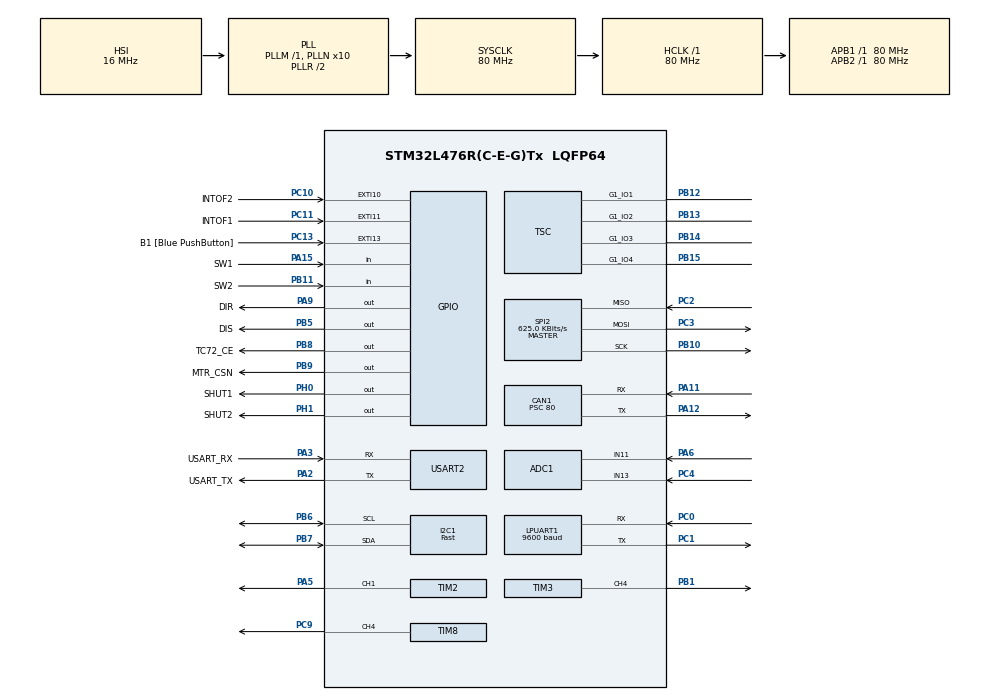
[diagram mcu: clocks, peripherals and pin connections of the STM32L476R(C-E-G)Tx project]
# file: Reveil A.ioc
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ADC1.Channel-0\#ChannelRegularConversion=ADC_CHANNEL_13
ADC1.Channel-1\#ChannelRegularConversion=ADC_CHANNEL_11
ADC1.NbrOfConversion=2
ADC1.NbrOfConversionFlag=1
ADC1.OffsetNumber-0\#ChannelRegularConversion=ADC_OFFSET_NONE
ADC1.OffsetNumber-1\#ChannelRegularConversion=ADC_OFFSET_NONE
ADC1.Rank-0\#ChannelRegularConversion=1
ADC1.Rank-1\#ChannelRegularConversion=2
ADC1.SamplingTime-0\#ChannelRegularConversion=ADC_SAMPLETIME_640CYCLES_5
ADC1.SamplingTime-1\#ChannelRegularConversion=ADC_SAMPLETIME_640CYCLES_5
ADC1.master=1
CAN1.BS1=CAN_BS1_6TQ
CAN1.BS2=CAN_BS2_3TQ
CAN1.CalculateBaudRate=100000
CAN1.CalculateTimeBit=10000
CAN1.CalculateTimeQuantum=1000.0
CAN1.Prescaler=80
Dma.Request0=TIM3_CH4/UP
Dma.TIM3_CH4/UP.0.Direction=DMA_MEMORY_TO_PERIPH
Dma.TIM3_CH4/UP.0.Instance=DMA1_Channel3
Dma.TIM3_CH4/UP.0.MemDataAlignment=DMA_MDATAALIGN_HALFWORD
Dma.TIM3_CH4/UP.0.MemInc=DMA_MINC_ENABLE
Dma.TIM3_CH4/UP.0.Mode=DMA_NORMAL
Dma.TIM3_CH4/UP.0.PeriphDataAlignment=DMA_PDATAALIGN_HALFWORD
Dma.TIM3_CH4/UP.0.PeriphInc=DMA_PINC_DISABLE
Dma.TIM3_CH4/UP.0.Priority=DMA_PRIORITY_LOW
FREERTOS.Tasks01=defaultTask,32,1024,StartDefaultTask,Default,NULL,Dynamic,NULL,NULL;displayTask,24,1024,StartDisplayTask,Default,NULL,Dynamic,NULL,NULL;commandTask,8,512,StartCommandTask,Default,NULL,Dynamic,NULL,NULL;bluetoothTask,8,256,StartBluetoothTask,Default,NULL,Dynamic,NULL,NULL
FREERTOS.configMINIMAL_STACK_SIZE=256
FREERTOS.configTOTAL_HEAP_SIZE=40000
FREERTOS.configUSE_NEWLIB_REENTRANT=1
I2C1.I2C_Speed_Mode=I2C_Fast
I2C1.Timing=0x00F12981
LPUART1.BaudRate=9600
LPUART1.WordLength=UART_WORDLENGTH_8B
Mcu.Family=STM32L4
Mcu.Name=STM32L476R(C-E-G)Tx
Mcu.Package=LQFP64
NVIC.CAN1_RX0_IRQn=true\:5\:0\:false\:false\:true\:true\:true\:true\:true
NVIC.DMA1_Channel3_IRQn=true\:5\:0\:false\:false\:true\:true\:false\:true\:true
NVIC.EXTI15_10_IRQn=true\:5\:0\:false\:false\:true\:true\:true\:true\:true
NVIC.PriorityGroup=NVIC_PRIORITYGROUP_4
NVIC.TIM6_DAC_IRQn=true\:15\:0\:false\:false\:true\:false\:false\:true\:true
NVIC.TimeBase=TIM6_DAC_IRQn
NVIC.TimeBaseIP=TIM6
PA11.Mode=CAN_Activate
PA11.Signal=CAN1_RX
PA12.Mode=CAN_Activate
PA12.Signal=CAN1_TX
PA13\ (JTMS-SWDIO).GPIO_Label=TMS
PA13\ (JTMS-SWDIO).Mode=Serial_Wire
PA13\ (JTMS-SWDIO).Signal=SYS_JTMS-SWDIO
PA14\ (JTCK-SWCLK).GPIO_Label=TCK
PA14\ (JTCK-SWCLK).Mode=Serial_Wire
PA14\ (JTCK-SWCLK).Signal=SYS_JTCK-SWCLK
PA15\ (JTDI).GPIO_Label=SW1
PA15\ (JTDI).GPIO_PuPd=GPIO_PULLUP
PA15\ (JTDI).Signal=GPIO_Input
PA2.GPIO_Label=USART_TX
PA2.GPIO_Mode=GPIO_MODE_AF_PP
PA2.GPIO_PuPd=GPIO_NOPULL
PA2.GPIO_Speed=GPIO_SPEED_FREQ_VERY_HIGH
PA2.Mode=Asynchronous
PA2.Signal=USART2_TX
PA3.GPIO_Label=USART_RX
PA3.GPIO_Mode=GPIO_MODE_AF_PP
PA3.GPIO_PuPd=GPIO_NOPULL
PA3.GPIO_Speed=GPIO_SPEED_FREQ_VERY_HIGH
PA3.Mode=Asynchronous
PA3.Signal=USART2_RX
PA5.Signal=S_TIM2_CH1
PA6.Signal=ADCx_IN11
PA9.GPIO_Label=DIR
PA9.Signal=GPIO_Output
PB1.GPIO_Speed=GPIO_SPEED_FREQ_VERY_HIGH
PB1.Signal=S_TIM3_CH4
PB10.Mode=Full_Duplex_Master
PB10.Signal=SPI2_SCK
PB11.GPIO_Label=SW2
PB11.GPIO_PuPd=GPIO_PULLUP
PB11.Signal=GPIO_Input
PB12.Mode=G1_IO1-Channel
PB12.Signal=TSC_G1_IO1
PB13.Mode=G1_IO2-Channel
PB13.Signal=TSC_G1_IO2
PB14.Mode=G1_IO3-Channel
PB14.Signal=TSC_G1_IO3
PB15.Mode=G1_IO4-Sampling
PB15.Signal=TSC_G1_IO4
PB3\ (JTDO-TRACESWO).GPIO_Label=SWO
PB3\ (JTDO-TRACESWO).Signal=SYS_JTDO-SWO
PB5.GPIO_Label=DIS
PB5.Signal=GPIO_Output
PB6.Mode=I2C
PB6.Signal=I2C1_SCL
PB7.Mode=I2C
PB7.Signal=I2C1_SDA
PB8.GPIO_Label=TC72_CE
PB8.Signal=GPIO_Output
PB9.GPIO_Label=MTR_CSN
PB9.PinState=GPIO_PIN_SET
PB9.Signal=GPIO_Output
PC0.Mode=Asynchronous
PC0.Signal=LPUART1_RX
PC1.Mode=Asynchronous
PC1.Signal=LPUART1_TX
PC10.GPIO_Label=INTOF2
PC10.GPIO_ModeDefaultEXTI=GPIO_MODE_IT_FALLING
PC10.GPIO_PuPd=GPIO_PULLUP
PC10.Signal=GPXTI10
PC11.GPIO_Label=INTOF1
PC11.GPIO_ModeDefaultEXTI=GPIO_MODE_IT_FALLING
PC11.GPIO_PuPd=GPIO_PULLUP
PC11.Signal=GPXTI11
PC13.GPIO_Label=B1 [Blue PushButton]
PC13.GPIO_ModeDefaultEXTI=GPIO_MODE_IT_FALLING
PC13.GPIO_PuPd=GPIO_NOPULL
PC13.Signal=GPXTI13
PC14-OSC32_IN\ (PC14).Mode=LSE-External-Oscillator
PC14-OSC32_IN\ (PC14).Signal=RCC_OSC32_IN
PC15-OSC32_OUT\ (PC15).Mode=LSE-External-Oscillator
PC15-OSC32_OUT\ (PC15).Signal=RCC_OSC32_OUT
PC2.Mode=Full_Duplex_Master
PC2.Signal=SPI2_MISO
PC3.Mode=Full_Duplex_Master
PC3.Signal=SPI2_MOSI
PC4.Signal=ADCx_IN13
PC9.Signal=S_TIM8_CH4
PH0-OSC_IN\ (PH0).GPIO_Label=SHUT1
PH0-OSC_IN\ (PH0).Signal=GPIO_Output
PH1-OSC_OUT\ (PH1).GPIO_Label=SHUT2
PH1-OSC_OUT\ (PH1).Signal=GPIO_Output
ProjectManager.HeapSize=0x200
ProjectManager.StackSize=0x400
ProjectManager.TargetToolchain=STM32CubeIDE
RCC.ADCFreq_Value=64000000
RCC.AHBFreq_Value=80000000
RCC.APB1Freq_Value=80000000
RCC.APB1TimFreq_Value=80000000
RCC.APB2Freq_Value=80000000
RCC.APB2TimFreq_Value=80000000
RCC.CortexFreq_Value=80000000
RCC.HCLKFreq_Value=80000000
RCC.HSE_VALUE=8000000
RCC.HSI_VALUE=16000000
RCC.LPUART1CLockSelection=RCC_LPUART1CLKSOURCE_HSI
RCC.MSI_VALUE=4000000
RCC.PLLN=10
RCC.PLLSourceVirtual=RCC_PLLSOURCE_HSI
RCC.PREFETCH_ENABLE=1
RCC.RTCClockSelection=RCC_RTCCLKSOURCE_LSE
RCC.SYSCLKFreq_VALUE=80000000
RCC.SYSCLKSource=RCC_SYSCLKSOURCE_PLLCLK
RCC.USBFreq_Value=64000000
RCC.VCOOutputFreq_Value=160000000
SH.ADCx_IN11.0=ADC1_IN11,IN11-Single-Ended
SH.ADCx_IN13.0=ADC1_IN13,IN13-Single-Ended
SH.S_TIM2_CH1.0=TIM2_CH1,PWM Generation1 CH1
SH.S_TIM3_CH4.0=TIM3_CH4,PWM Generation4 CH4
SH.S_TIM8_CH4.0=TIM8_CH4,PWM Generation4 CH4
SPI2.BaudRatePrescaler=SPI_BAUDRATEPRESCALER_128
SPI2.CLKPhase=SPI_PHASE_2EDGE
SPI2.CalculateBaudRate=625.0 KBits/s
SPI2.DataSize=SPI_DATASIZE_8BIT
SPI2.Direction=SPI_DIRECTION_2LINES
SPI2.Mode=SPI_MODE_MASTER
SPI2.VirtualType=VM_MASTER
TIM2.Channel-PWM\ Generation1\ CH1=TIM_CHANNEL_1
TIM2.Period=79999
TIM3.AutoReloadPreload=TIM_AUTORELOAD_PRELOAD_ENABLE
TIM3.Channel-PWM\ Generation4\ CH4=TIM_CHANNEL_4
TIM3.Period=99
TIM8.AutoReloadPreload=TIM_AUTORELOAD_PRELOAD_ENABLE
TIM8.Channel-PWM\ Generation4\ CH4=TIM_CHANNEL_4
TIM8.Period=999
TIM8.Prescaler=80-1
TSC.ChannelIOs-G1_IO1=TSC_GROUP1_IO1
TSC.ChannelIOs-G1_IO2=TSC_GROUP1_IO2
TSC.ChannelIOs-G1_IO3=TSC_GROUP1_IO3
TSC.SamplingIOs-G1_IO4=TSC_GROUP1_IO4
USART2.VirtualMode-Asynchronous=VM_ASYNC
VP_FREERTOS_VS_CMSIS_V2.Mode=CMSIS_V2
VP_RTC_VS_RTC_Activate.Mode=RTC_Enabled
VP_SYS_VS_tim6.Mode=TIM6
VP_TIM2_VS_ClockSourceINT.Mode=Internal
VP_TIM3_VS_ClockSourceINT.Mode=Internal
board=NUCLEO-L476RG

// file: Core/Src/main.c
/* USER CODE BEGIN Header */
/**
  ******************************************************************************
  * @file           : main.c
  * @brief          : Main program body
  ******************************************************************************
  * @attention
  *
  * Copyright (c) 2026 STMicroelectronics.
  * All rights reserved.
  *
  * This software is licensed under terms that can be found in the LICENSE file
  * in the root directory of this software component.
  * If no LICENSE file comes with this software, it is provided AS-IS.
  *
  ******************************************************************************
  */
/* USER CODE END Header */
#include "main.h"
#include "cmsis_os.h"

/* USER CODE BEGIN Includes */
#include "sommeil.h"
#include "oled.h"
#include "app_clock.h"
#include "app_alarm.h"
#include "app_alarm_storage.h"
#include <string.h>
#include "sound.h"
#include "app_msg.h"
#include "buttons.h"
#include "touch.h"
#include "lights.h"
#include "capteurs.h"
#include "ventilation.h"
#include "reception_can.h"
#include "partage.h"
#include "mode_jour_nuit.h"
#include "gestes.h"
#include "reglages.h"
/* USER CODE END Includes */

/* USER CODE BEGIN PTD */

typedef enum
{
    APP_CMD_SNOOZE = 0,
    APP_CMD_STOP,
    APP_CMD_REARM,
    APP_CMD_SET_TIME,
    APP_CMD_SET_ALARM,
    APP_CMD_SET_ENABLED

} AppCommandType_t;

typedef struct
{
    AppCommandType_t type;

    uint8_t hours;
    uint8_t minutes;
    uint8_t seconds;
    uint8_t enabled;

} AppCommand_t;

/* Message transmis a la tache OLED */

typedef struct
{
    /* Heure actuelle du RTC */
    uint8_t hours;
    uint8_t minutes;
    uint8_t seconds;

    /* Heure de l'alarme */
    uint8_t alarmHours;
    uint8_t alarmMinutes;

    /* Etat de l'alarme */
    uint8_t enabled;
    AppAlarm_State_t state;

} DisplayMessage_t;

/* USER CODE END PTD */

ADC_HandleTypeDef hadc1;

CAN_HandleTypeDef hcan1;

I2C_HandleTypeDef hi2c1;

UART_HandleTypeDef hlpuart1;
UART_HandleTypeDef huart2;

RTC_HandleTypeDef hrtc;

SPI_HandleTypeDef hspi2;

TIM_HandleTypeDef htim2;
TIM_HandleTypeDef htim3;
TIM_HandleTypeDef htim8;
DMA_HandleTypeDef hdma_tim3_ch4_up;

TSC_HandleTypeDef htsc;

/* Definitions for defaultTask */
osThreadId_t defaultTaskHandle;
const osThreadAttr_t defaultTask_attributes = {
  .name = "defaultTask",
  .stack_size = 1024 * 4,
  .priority = (osPriority_t) osPriorityAboveNormal,
};
/* Definitions for displayTask */
osThreadId_t displayTaskHandle;
const osThreadAttr_t displayTask_attributes = {
  .name = "displayTask",
  .stack_size = 1024 * 4,
  .priority = (osPriority_t) osPriorityNormal,
};
/* Definitions for commandTask */
osThreadId_t commandTaskHandle;
const osThreadAttr_t commandTask_attributes = {
  .name = "commandTask",
  .stack_size = 512 * 4,
  .priority = (osPriority_t) osPriorityLow,
};
/* Definitions for bluetoothTask */
osThreadId_t bluetoothTaskHandle;
const osThreadAttr_t bluetoothTask_attributes = {
  .name = "bluetoothTask",
  .stack_size = 256 * 4,
  .priority = (osPriority_t) osPriorityLow,
};
/* USER CODE BEGIN PV */
static osMessageQueueId_t displayQueueHandle;
static osMessageQueueId_t commandQueueHandle;
/* USER CODE END PV */

void SystemClock_Config(void);
static void MX_GPIO_Init(void);
static void MX_DMA_Init(void);
static void MX_USART2_UART_Init(void);
static void MX_I2C1_Init(void);
static void MX_RTC_Init(void);
static void MX_TIM8_Init(void);
static void MX_TSC_Init(void);
static void MX_TIM3_Init(void);
static void MX_ADC1_Init(void);
static void MX_SPI2_Init(void);
static void MX_TIM2_Init(void);
static void MX_CAN1_Init(void);
static void MX_LPUART1_UART_Init(void);
void StartDefaultTask(void *argument);
void StartDisplayTask(void *argument);
void StartCommandTask(void *argument);
void StartBluetoothTask(void *argument);

/* USER CODE BEGIN 0 */

static uint8_t App_Parse2Digits(
    const char *text,
    uint8_t *value)
{
    if (text[0] < '0' || text[0] > '9' ||
        text[1] < '0' || text[1] > '9')
    {
        return 0;
    }

    *value = (uint8_t)(
        (text[0] - '0') * 10 +
        (text[1] - '0')
    );

    return 1;
}

static void App_UartSend(
    UART_HandleTypeDef *uart,
    const char *text)
{
    HAL_UART_Transmit(
        uart,
        (uint8_t *)text,
        (uint16_t)strlen(text),
        100
    );
}

static uint8_t App_ParseCommand(
    const char *line,
    uint8_t len,
    AppCommand_t *cmd)
{
    uint8_t h = 0;
    uint8_t m = 0;
    uint8_t s = 0;

    /* T HH MM SS */
    if (len == 10 &&
        (line[0] == 'T' || line[0] == 't') &&
        line[1] == ' ' &&
        line[4] == ' ' &&
        line[7] == ' ' &&
        App_Parse2Digits(&line[2], &h) &&
        App_Parse2Digits(&line[5], &m) &&
        App_Parse2Digits(&line[8], &s) &&
        h < 24 && m < 60 && s < 60)
    {
        cmd->type = APP_CMD_SET_TIME;
        cmd->hours = h;
        cmd->minutes = m;
        cmd->seconds = s;

        return 1;
    }

    /* A HH MM */
    if (len == 7 &&
        (line[0] == 'A' || line[0] == 'a') &&
        line[1] == ' ' &&
        line[4] == ' ' &&
        App_Parse2Digits(&line[2], &h) &&
        App_Parse2Digits(&line[5], &m) &&
        h < 24 && m < 60)
    {
        cmd->type = APP_CMD_SET_ALARM;
        cmd->hours = h;
        cmd->minutes = m;

        return 1;
    }

    /* E 0 ou E 1 */
    if (len == 3 &&
        (line[0] == 'E' || line[0] == 'e') &&
        line[1] == ' ' &&
        (line[2] == '0' || line[2] == '1'))
    {
        cmd->type = APP_CMD_SET_ENABLED;
        cmd->enabled = line[2] - '0';

        return 1;
    }

    return 0;
}

static void App_RunTerminal(
    UART_HandleTypeDef *uart,
    uint8_t isBluetooth)
{
    uint8_t rx;

    char line[16];
    uint8_t len = 0;
    uint8_t discardLine = 0;

    if (isBluetooth)
    {
        App_UartSend(
            uart,
            "\r\nBLUETOOTH REVEIL PRET\r\n"
        );
    }
    else
    {
        App_UartSend(
            uart,
            "\r\nREVEIL INTELLIGENT\r\n"
        );
    }

    App_UartSend(
        uart,
        "T HH MM SS = HEURE\r\n"
        "A HH MM = ALARME\r\n"
        "E 1 / E 0 = ON / OFF\r\n"
        "r = REARM\r\n"
        "s = SNOOZE\r\n"
        "x = STOP\r\n"
        "p = TEST\r\n"

    );
    Reglages_Aide(uart);
    for (;;)
    {
        if (HAL_UART_Receive(
                uart,
                &rx,
                1,
                10) == HAL_OK)
        {
            AppCommand_t cmd = {0};
            uint8_t valid = 0;

            /* Fin de ligne */
            if (rx == '\r' || rx == '\n')
            {
                if (!discardLine && len > 0)
                {
                    valid = App_ParseCommand(
                        line,
                        len,
                        &cmd
                    );

                    if (!valid &&
                        !Reglages_Traiter(uart, line, len))
                    {
                        App_UartSend(
                            uart,
                            "ERREUR: commande invalide\r\n"
                        );
                    }
                }

                len = 0;
                discardLine = 0;
            }

            /* Retour arriere */
            else if (!discardLine &&
                     (rx == '\b' || rx == 127))
            {
                if (len > 0)
                {
                    len--;
                }
            }

            /* Commande TEST immediate */
            else if (!discardLine &&
                     len == 0 &&
                     (rx == 'p' || rx == 'P'))
            {
                if (isBluetooth)
                {
                    App_UartSend(uart, "BT OK\r\n");
                }
                else
                {
                    App_UartSend(uart, "UART OK\r\n");
                }
            }

            /* Commandes simples immediates */
            else if (!discardLine &&
                     len == 0 &&
                     (rx == 'r' || rx == 'R' ||
                      rx == 's' || rx == 'S' ||
                      rx == 'x' || rx == 'X'))
            {
                if (rx == 'r' || rx == 'R')
                {
                    cmd.type = APP_CMD_REARM;
                }
                else if (rx == 's' || rx == 'S')
                {
                    cmd.type = APP_CMD_SNOOZE;
                }
                else
                {
                    cmd.type = APP_CMD_STOP;
                }

                valid = 1;
            }

            /* Reception d'une commande longue */
            else if (!discardLine &&
                     rx >= 32 && rx <= 126)
            {
                if (len < sizeof(line))
                {
                    line[len++] = (char)rx;
                }
                else
                {
                    len = 0;
                    discardLine = 1;

                    App_UartSend(
                        uart,
                        "ERREUR: ligne trop longue\r\n"
                    );
                }
            }

            /* Envoi vers defaultTask */
            if (valid)
            {
                if (osMessageQueuePut(
                        commandQueueHandle,
                        &cmd,
                        0,
                        0) == osOK)
                {
                    App_UartSend(
                        uart,
                        "Commande recue\r\n"
                    );
                }
                else
                {
                    App_UartSend(
                        uart,
                        "ERREUR: queue pleine\r\n"
                    );
                }
            }
        }
        else
        {
            /* Ne pas ralentir une ligne en cours */
            osDelay(1);
        }
    }
}

/* USER CODE END 0 */

int main(void)
{

  /* MCU Configuration--------------------------------------------------------*/

  /* Reset of all peripherals, Initializes the Flash interface and the Systick. */
  HAL_Init();

  /* Configure the system clock */
  SystemClock_Config();

  /* Initialize all configured peripherals */
  MX_GPIO_Init();
  MX_DMA_Init();
  MX_USART2_UART_Init();
  MX_I2C1_Init();
  MX_RTC_Init();
  MX_TIM8_Init();
  MX_TSC_Init();
  MX_TIM3_Init();
  MX_ADC1_Init();
  MX_SPI2_Init();
  MX_TIM2_Init();
  MX_CAN1_Init();
  MX_LPUART1_UART_Init();

  /* Init scheduler */
  osKernelInitialize();

  /* USER CODE BEGIN RTOS_QUEUES */
  /* add queues, ... */

  displayQueueHandle = osMessageQueueNew(
      2,
      sizeof(DisplayMessage_t),
      NULL
  );

  if (displayQueueHandle == NULL)
  {
      Error_Handler();
  }

  commandQueueHandle = osMessageQueueNew(
      8,
      sizeof(AppCommand_t),
      NULL
  );

  if (commandQueueHandle == NULL)
  {
      Error_Handler();
  }

  /* USER CODE END RTOS_QUEUES */

  /* Create the thread(s) */
  /* creation of defaultTask */
  defaultTaskHandle = osThreadNew(StartDefaultTask, NULL, &defaultTask_attributes);

  /* creation of displayTask */
  displayTaskHandle = osThreadNew(StartDisplayTask, NULL, &displayTask_attributes);

  /* creation of commandTask */
  commandTaskHandle = osThreadNew(StartCommandTask, NULL, &commandTask_attributes);

  /* creation of bluetoothTask */
  bluetoothTaskHandle = osThreadNew(StartBluetoothTask, NULL, &bluetoothTask_attributes);

  /* USER CODE BEGIN RTOS_THREADS */
  /* add threads, ... */
  Partage_Init();

  /* ---  : verification des taches creees par CubeMX --- */
  if (defaultTaskHandle == NULL ||
      displayTaskHandle == NULL ||
      commandTaskHandle == NULL ||
      bluetoothTaskHandle == NULL)
  {
      Error_Handler();
  }

  /* ---  : taches des capteurs et actionneurs --- */
  Son_Init();
  Boutons_Init();
  Touches_Init();
  Eclairage_Init();
  Capteurs_Init();
  Ventilation_Init();
  ReceptionCAN_Init();
  ModeJourNuit_Init();
  Gestes_Init();
  Sommeil_Init();
  /* USER CODE END RTOS_THREADS */

  /* Start scheduler */
  osKernelStart();

  /* We should never get here as control is now taken by the scheduler */

  /* Infinite loop */
  while (1)
  {

  }
}

void SystemClock_Config(void)
{
  RCC_OscInitTypeDef RCC_OscInitStruct = {0};
  RCC_ClkInitTypeDef RCC_ClkInitStruct = {0};

  /** Configure the main internal regulator output voltage
  */
  if (HAL_PWREx_ControlVoltageScaling(PWR_REGULATOR_VOLTAGE_SCALE1) != HAL_OK)
  {
    Error_Handler();
  }

  /** Configure LSE Drive Capability
  */
  HAL_PWR_EnableBkUpAccess();
  __HAL_RCC_LSEDRIVE_CONFIG(RCC_LSEDRIVE_LOW);

  /** Initializes the RCC Oscillators according to the specified parameters
  * in the RCC_OscInitTypeDef structure.
  */
  RCC_OscInitStruct.OscillatorType = RCC_OSCILLATORTYPE_HSI|RCC_OSCILLATORTYPE_LSE;
  RCC_OscInitStruct.LSEState = RCC_LSE_ON;
  RCC_OscInitStruct.HSIState = RCC_HSI_ON;
  RCC_OscInitStruct.HSICalibrationValue = RCC_HSICALIBRATION_DEFAULT;
  RCC_OscInitStruct.PLL.PLLState = RCC_PLL_ON;
  RCC_OscInitStruct.PLL.PLLSource = RCC_PLLSOURCE_HSI;
  RCC_OscInitStruct.PLL.PLLM = 1;
  RCC_OscInitStruct.PLL.PLLN = 10;
  RCC_OscInitStruct.PLL.PLLP = RCC_PLLP_DIV7;
  RCC_OscInitStruct.PLL.PLLQ = RCC_PLLQ_DIV2;
  RCC_OscInitStruct.PLL.PLLR = RCC_PLLR_DIV2;
  if (HAL_RCC_OscConfig(&RCC_OscInitStruct) != HAL_OK)
  {
    Error_Handler();
  }

  /** Initializes the CPU, AHB and APB buses clocks
  */
  RCC_ClkInitStruct.ClockType = RCC_CLOCKTYPE_HCLK|RCC_CLOCKTYPE_SYSCLK
                              |RCC_CLOCKTYPE_PCLK1|RCC_CLOCKTYPE_PCLK2;
  RCC_ClkInitStruct.SYSCLKSource = RCC_SYSCLKSOURCE_PLLCLK;
  RCC_ClkInitStruct.AHBCLKDivider = RCC_SYSCLK_DIV1;
  RCC_ClkInitStruct.APB1CLKDivider = RCC_HCLK_DIV1;
  RCC_ClkInitStruct.APB2CLKDivider = RCC_HCLK_DIV1;

  if (HAL_RCC_ClockConfig(&RCC_ClkInitStruct, FLASH_LATENCY_4) != HAL_OK)
  {
    Error_Handler();
  }
}

static void MX_ADC1_Init(void)
{

  ADC_MultiModeTypeDef multimode = {0};
  ADC_ChannelConfTypeDef sConfig = {0};

  /** Common config
  */
  hadc1.Instance = ADC1;
  hadc1.Init.ClockPrescaler = ADC_CLOCK_ASYNC_DIV1;
  hadc1.Init.Resolution = ADC_RESOLUTION_12B;
  hadc1.Init.DataAlign = ADC_DATAALIGN_RIGHT;
  hadc1.Init.ScanConvMode = ADC_SCAN_ENABLE;
  hadc1.Init.EOCSelection = ADC_EOC_SINGLE_CONV;
  hadc1.Init.LowPowerAutoWait = DISABLE;
  hadc1.Init.ContinuousConvMode = DISABLE;
  hadc1.Init.NbrOfConversion = 2;
  hadc1.Init.DiscontinuousConvMode = DISABLE;
  hadc1.Init.ExternalTrigConv = ADC_SOFTWARE_START;
  hadc1.Init.ExternalTrigConvEdge = ADC_EXTERNALTRIGCONVEDGE_NONE;
  hadc1.Init.DMAContinuousRequests = DISABLE;
  hadc1.Init.Overrun = ADC_OVR_DATA_PRESERVED;
  hadc1.Init.OversamplingMode = DISABLE;
  if (HAL_ADC_Init(&hadc1) != HAL_OK)
  {
    Error_Handler();
  }

  /** Configure the ADC multi-mode
  */
  multimode.Mode = ADC_MODE_INDEPENDENT;
  if (HAL_ADCEx_MultiModeConfigChannel(&hadc1, &multimode) != HAL_OK)
  {
    Error_Handler();
  }

  /** Configure Regular Channel
  */
  sConfig.Channel = ADC_CHANNEL_13;
  sConfig.Rank = ADC_REGULAR_RANK_1;
  sConfig.SamplingTime = ADC_SAMPLETIME_640CYCLES_5;
  sConfig.SingleDiff = ADC_SINGLE_ENDED;
  sConfig.OffsetNumber = ADC_OFFSET_NONE;
  sConfig.Offset = 0;
  if (HAL_ADC_ConfigChannel(&hadc1, &sConfig) != HAL_OK)
  {
    Error_Handler();
  }

  /** Configure Regular Channel
  */
  sConfig.Channel = ADC_CHANNEL_11;
  sConfig.Rank = ADC_REGULAR_RANK_2;
  if (HAL_ADC_ConfigChannel(&hadc1, &sConfig) != HAL_OK)
  {
    Error_Handler();
  }

}

static void MX_CAN1_Init(void)
{

  hcan1.Instance = CAN1;
  hcan1.Init.Prescaler = 80;
  hcan1.Init.Mode = CAN_MODE_NORMAL;
  hcan1.Init.SyncJumpWidth = CAN_SJW_1TQ;
  hcan1.Init.TimeSeg1 = CAN_BS1_6TQ;
  hcan1.Init.TimeSeg2 = CAN_BS2_3TQ;
  hcan1.Init.TimeTriggeredMode = DISABLE;
  hcan1.Init.AutoBusOff = DISABLE;
  hcan1.Init.AutoWakeUp = DISABLE;
  hcan1.Init.AutoRetransmission = DISABLE;
  hcan1.Init.ReceiveFifoLocked = DISABLE;
  hcan1.Init.TransmitFifoPriority = DISABLE;
  if (HAL_CAN_Init(&hcan1) != HAL_OK)
  {
    Error_Handler();
  }

}

static void MX_I2C1_Init(void)
{

  hi2c1.Instance = I2C1;
  hi2c1.Init.Timing = 0x00F12981;
  hi2c1.Init.OwnAddress1 = 0;
  hi2c1.Init.AddressingMode = I2C_ADDRESSINGMODE_7BIT;
  hi2c1.Init.DualAddressMode = I2C_DUALADDRESS_DISABLE;
  hi2c1.Init.OwnAddress2 = 0;
  hi2c1.Init.OwnAddress2Masks = I2C_OA2_NOMASK;
  hi2c1.Init.GeneralCallMode = I2C_GENERALCALL_DISABLE;
  hi2c1.Init.NoStretchMode = I2C_NOSTRETCH_DISABLE;
  if (HAL_I2C_Init(&hi2c1) != HAL_OK)
  {
    Error_Handler();
  }

  /** Configure Analogue filter
  */
  if (HAL_I2CEx_ConfigAnalogFilter(&hi2c1, I2C_ANALOGFILTER_ENABLE) != HAL_OK)
  {
    Error_Handler();
  }

  /** Configure Digital filter
  */
  if (HAL_I2CEx_ConfigDigitalFilter(&hi2c1, 0) != HAL_OK)
  {
    Error_Handler();
  }

}

static void MX_LPUART1_UART_Init(void)
{

  hlpuart1.Instance = LPUART1;
  hlpuart1.Init.BaudRate = 9600;
  hlpuart1.Init.WordLength = UART_WORDLENGTH_8B;
  hlpuart1.Init.StopBits = UART_STOPBITS_1;
  hlpuart1.Init.Parity = UART_PARITY_NONE;
  hlpuart1.Init.Mode = UART_MODE_TX_RX;
  hlpuart1.Init.HwFlowCtl = UART_HWCONTROL_NONE;
  hlpuart1.Init.OneBitSampling = UART_ONE_BIT_SAMPLE_DISABLE;
  hlpuart1.AdvancedInit.AdvFeatureInit = UART_ADVFEATURE_NO_INIT;
  if (HAL_UART_Init(&hlpuart1) != HAL_OK)
  {
    Error_Handler();
  }

}

static void MX_USART2_UART_Init(void)
{

  huart2.Instance = USART2;
  huart2.Init.BaudRate = 115200;
  huart2.Init.WordLength = UART_WORDLENGTH_8B;
  huart2.Init.StopBits = UART_STOPBITS_1;
  huart2.Init.Parity = UART_PARITY_NONE;
  huart2.Init.Mode = UART_MODE_TX_RX;
  huart2.Init.HwFlowCtl = UART_HWCONTROL_NONE;
  huart2.Init.OverSampling = UART_OVERSAMPLING_16;
  huart2.Init.OneBitSampling = UART_ONE_BIT_SAMPLE_DISABLE;
  huart2.AdvancedInit.AdvFeatureInit = UART_ADVFEATURE_NO_INIT;
  if (HAL_UART_Init(&huart2) != HAL_OK)
  {
    Error_Handler();
  }

}

static void MX_RTC_Init(void)
{

  /** Initialize RTC Only
  */
  hrtc.Instance = RTC;
  hrtc.Init.HourFormat = RTC_HOURFORMAT_24;
  hrtc.Init.AsynchPrediv = 127;
  hrtc.Init.SynchPrediv = 255;
  hrtc.Init.OutPut = RTC_OUTPUT_DISABLE;
  hrtc.Init.OutPutRemap = RTC_OUTPUT_REMAP_NONE;
  hrtc.Init.OutPutPolarity = RTC_OUTPUT_POLARITY_HIGH;
  hrtc.Init.OutPutType = RTC_OUTPUT_TYPE_OPENDRAIN;
  if (HAL_RTC_Init(&hrtc) != HAL_OK)
  {
    Error_Handler();
  }

}

static void MX_SPI2_Init(void)
{

  /* SPI2 parameter configuration*/
  hspi2.Instance = SPI2;
  hspi2.Init.Mode = SPI_MODE_MASTER;
  hspi2.Init.Direction = SPI_DIRECTION_2LINES;
  hspi2.Init.DataSize = SPI_DATASIZE_8BIT;
  hspi2.Init.CLKPolarity = SPI_POLARITY_LOW;
  hspi2.Init.CLKPhase = SPI_PHASE_2EDGE;
  hspi2.Init.NSS = SPI_NSS_SOFT;
  hspi2.Init.BaudRatePrescaler = SPI_BAUDRATEPRESCALER_128;
  hspi2.Init.FirstBit = SPI_FIRSTBIT_MSB;
  hspi2.Init.TIMode = SPI_TIMODE_DISABLE;
  hspi2.Init.CRCCalculation = SPI_CRCCALCULATION_DISABLE;
  hspi2.Init.CRCPolynomial = 7;
  hspi2.Init.CRCLength = SPI_CRC_LENGTH_DATASIZE;
  hspi2.Init.NSSPMode = SPI_NSS_PULSE_DISABLE;
  if (HAL_SPI_Init(&hspi2) != HAL_OK)
  {
    Error_Handler();
  }

}

static void MX_TIM2_Init(void)
{

  TIM_ClockConfigTypeDef sClockSourceConfig = {0};
  TIM_MasterConfigTypeDef sMasterConfig = {0};
  TIM_OC_InitTypeDef sConfigOC = {0};

  htim2.Instance = TIM2;
  htim2.Init.Prescaler = 0;
  htim2.Init.CounterMode = TIM_COUNTERMODE_UP;
  htim2.Init.Period = 79999;
  htim2.Init.ClockDivision = TIM_CLOCKDIVISION_DIV1;
  htim2.Init.AutoReloadPreload = TIM_AUTORELOAD_PRELOAD_DISABLE;
  if (HAL_TIM_Base_Init(&htim2) != HAL_OK)
  {
    Error_Handler();
  }
  sClockSourceConfig.ClockSource = TIM_CLOCKSOURCE_INTERNAL;
  if (HAL_TIM_ConfigClockSource(&htim2, &sClockSourceConfig) != HAL_OK)
  {
    Error_Handler();
  }
  if (HAL_TIM_PWM_Init(&htim2) != HAL_OK)
  {
    Error_Handler();
  }
  sMasterConfig.MasterOutputTrigger = TIM_TRGO_RESET;
  sMasterConfig.MasterSlaveMode = TIM_MASTERSLAVEMODE_DISABLE;
  if (HAL_TIMEx_MasterConfigSynchronization(&htim2, &sMasterConfig) != HAL_OK)
  {
    Error_Handler();
  }
  sConfigOC.OCMode = TIM_OCMODE_PWM1;
  sConfigOC.Pulse = 0;
  sConfigOC.OCPolarity = TIM_OCPOLARITY_HIGH;
  sConfigOC.OCFastMode = TIM_OCFAST_DISABLE;
  if (HAL_TIM_PWM_ConfigChannel(&htim2, &sConfigOC, TIM_CHANNEL_1) != HAL_OK)
  {
    Error_Handler();
  }
  HAL_TIM_MspPostInit(&htim2);

}

static void MX_TIM3_Init(void)
{

  TIM_ClockConfigTypeDef sClockSourceConfig = {0};
  TIM_MasterConfigTypeDef sMasterConfig = {0};
  TIM_OC_InitTypeDef sConfigOC = {0};

  htim3.Instance = TIM3;
  htim3.Init.Prescaler = 0;
  htim3.Init.CounterMode = TIM_COUNTERMODE_UP;
  htim3.Init.Period = 99;
  htim3.Init.ClockDivision = TIM_CLOCKDIVISION_DIV1;
  htim3.Init.AutoReloadPreload = TIM_AUTORELOAD_PRELOAD_ENABLE;
  if (HAL_TIM_Base_Init(&htim3) != HAL_OK)
  {
    Error_Handler();
  }
  sClockSourceConfig.ClockSource = TIM_CLOCKSOURCE_INTERNAL;
  if (HAL_TIM_ConfigClockSource(&htim3, &sClockSourceConfig) != HAL_OK)
  {
    Error_Handler();
  }
  if (HAL_TIM_PWM_Init(&htim3) != HAL_OK)
  {
    Error_Handler();
  }
  sMasterConfig.MasterOutputTrigger = TIM_TRGO_RESET;
  sMasterConfig.MasterSlaveMode = TIM_MASTERSLAVEMODE_DISABLE;
  if (HAL_TIMEx_MasterConfigSynchronization(&htim3, &sMasterConfig) != HAL_OK)
  {
    Error_Handler();
  }
  sConfigOC.OCMode = TIM_OCMODE_PWM1;
  sConfigOC.Pulse = 0;
  sConfigOC.OCPolarity = TIM_OCPOLARITY_HIGH;
  sConfigOC.OCFastMode = TIM_OCFAST_DISABLE;
  if (HAL_TIM_PWM_ConfigChannel(&htim3, &sConfigOC, TIM_CHANNEL_4) != HAL_OK)
  {
    Error_Handler();
  }
  HAL_TIM_MspPostInit(&htim3);

}

static void MX_TIM8_Init(void)
{

  TIM_MasterConfigTypeDef sMasterConfig = {0};
  TIM_OC_InitTypeDef sConfigOC = {0};
  TIM_BreakDeadTimeConfigTypeDef sBreakDeadTimeConfig = {0};

  htim8.Instance = TIM8;
  htim8.Init.Prescaler = 80-1;
  htim8.Init.CounterMode = TIM_COUNTERMODE_UP;
  htim8.Init.Period = 999;
  htim8.Init.ClockDivision = TIM_CLOCKDIVISION_DIV1;
  htim8.Init.RepetitionCounter = 0;
  htim8.Init.AutoReloadPreload = TIM_AUTORELOAD_PRELOAD_ENABLE;
  if (HAL_TIM_PWM_Init(&htim8) != HAL_OK)
  {
    Error_Handler();
  }
  sMasterConfig.MasterOutputTrigger = TIM_TRGO_RESET;
  sMasterConfig.MasterOutputTrigger2 = TIM_TRGO2_RESET;
  sMasterConfig.MasterSlaveMode = TIM_MASTERSLAVEMODE_DISABLE;
  if (HAL_TIMEx_MasterConfigSynchronization(&htim8, &sMasterConfig) != HAL_OK)
  {
    Error_Handler();
  }
  sConfigOC.OCMode = TIM_OCMODE_PWM1;
  sConfigOC.Pulse = 0;
  sConfigOC.OCPolarity = TIM_OCPOLARITY_HIGH;
  sConfigOC.OCFastMode = TIM_OCFAST_DISABLE;
  sConfigOC.OCIdleState = TIM_OCIDLESTATE_RESET;
  sConfigOC.OCNIdleState = TIM_OCNIDLESTATE_RESET;
  if (HAL_TIM_PWM_ConfigChannel(&htim8, &sConfigOC, TIM_CHANNEL_4) != HAL_OK)
  {
    Error_Handler();
  }
  sBreakDeadTimeConfig.OffStateRunMode = TIM_OSSR_DISABLE;
  sBreakDeadTimeConfig.OffStateIDLEMode = TIM_OSSI_DISABLE;
  sBreakDeadTimeConfig.LockLevel = TIM_LOCKLEVEL_OFF;
  sBreakDeadTimeConfig.DeadTime = 0;
  sBreakDeadTimeConfig.BreakState = TIM_BREAK_DISABLE;
  sBreakDeadTimeConfig.BreakPolarity = TIM_BREAKPOLARITY_HIGH;
  sBreakDeadTimeConfig.BreakFilter = 0;
  sBreakDeadTimeConfig.Break2State = TIM_BREAK2_DISABLE;
  sBreakDeadTimeConfig.Break2Polarity = TIM_BREAK2POLARITY_HIGH;
  sBreakDeadTimeConfig.Break2Filter = 0;
  sBreakDeadTimeConfig.AutomaticOutput = TIM_AUTOMATICOUTPUT_DISABLE;
  if (HAL_TIMEx_ConfigBreakDeadTime(&htim8, &sBreakDeadTimeConfig) != HAL_OK)
  {
    Error_Handler();
  }
  HAL_TIM_MspPostInit(&htim8);

}

static void MX_TSC_Init(void)
{

  /** Configure the TSC peripheral
  */
  htsc.Instance = TSC;
  htsc.Init.CTPulseHighLength = TSC_CTPH_2CYCLES;
  htsc.Init.CTPulseLowLength = TSC_CTPL_2CYCLES;
  htsc.Init.SpreadSpectrum = DISABLE;
  htsc.Init.SpreadSpectrumDeviation = 1;
  htsc.Init.SpreadSpectrumPrescaler = TSC_SS_PRESC_DIV1;
  htsc.Init.PulseGeneratorPrescaler = TSC_PG_PRESC_DIV4;
  htsc.Init.MaxCountValue = TSC_MCV_8191;
  htsc.Init.IODefaultMode = TSC_IODEF_OUT_PP_LOW;
  htsc.Init.SynchroPinPolarity = TSC_SYNC_POLARITY_FALLING;
  htsc.Init.AcquisitionMode = TSC_ACQ_MODE_NORMAL;
  htsc.Init.MaxCountInterrupt = DISABLE;
  htsc.Init.ChannelIOs = TSC_GROUP1_IO1|TSC_GROUP1_IO2|TSC_GROUP1_IO3;
  htsc.Init.ShieldIOs = 0;
  htsc.Init.SamplingIOs = TSC_GROUP1_IO4;
  if (HAL_TSC_Init(&htsc) != HAL_OK)
  {
    Error_Handler();
  }

}

static void MX_DMA_Init(void)
{

  /* DMA controller clock enable */
  __HAL_RCC_DMA1_CLK_ENABLE();

  /* DMA interrupt init */
  /* DMA1_Channel3_IRQn interrupt configuration */
  HAL_NVIC_SetPriority(DMA1_Channel3_IRQn, 5, 0);
  HAL_NVIC_EnableIRQ(DMA1_Channel3_IRQn);

}

static void MX_GPIO_Init(void)
{
  GPIO_InitTypeDef GPIO_InitStruct = {0};

  /* GPIO Ports Clock Enable */
  __HAL_RCC_GPIOC_CLK_ENABLE();
  __HAL_RCC_GPIOH_CLK_ENABLE();
  __HAL_RCC_GPIOA_CLK_ENABLE();
  __HAL_RCC_GPIOB_CLK_ENABLE();

  /*Configure GPIO pin Output Level */
  HAL_GPIO_WritePin(GPIOH, SHUT1_Pin|SHUT2_Pin, GPIO_PIN_RESET);

  /*Configure GPIO pin Output Level */
  HAL_GPIO_WritePin(DIR_GPIO_Port, DIR_Pin, GPIO_PIN_RESET);

  /*Configure GPIO pin Output Level */
  HAL_GPIO_WritePin(GPIOB, DIS_Pin|TC72_CE_Pin, GPIO_PIN_RESET);

  /*Configure GPIO pin Output Level */
  HAL_GPIO_WritePin(MTR_CSN_GPIO_Port, MTR_CSN_Pin, GPIO_PIN_SET);

  /*Configure GPIO pin : B1_Pin */
  GPIO_InitStruct.Pin = B1_Pin;
  GPIO_InitStruct.Mode = GPIO_MODE_IT_FALLING;
  GPIO_InitStruct.Pull = GPIO_NOPULL;
  HAL_GPIO_Init(B1_GPIO_Port, &GPIO_InitStruct);

  /*Configure GPIO pins : SHUT1_Pin SHUT2_Pin */
  GPIO_InitStruct.Pin = SHUT1_Pin|SHUT2_Pin;
  GPIO_InitStruct.Mode = GPIO_MODE_OUTPUT_PP;
  GPIO_InitStruct.Pull = GPIO_NOPULL;
  GPIO_InitStruct.Speed = GPIO_SPEED_FREQ_LOW;
  HAL_GPIO_Init(GPIOH, &GPIO_InitStruct);

  /*Configure GPIO pin : SW2_Pin */
  GPIO_InitStruct.Pin = SW2_Pin;
  GPIO_InitStruct.Mode = GPIO_MODE_INPUT;
  GPIO_InitStruct.Pull = GPIO_PULLUP;
  HAL_GPIO_Init(SW2_GPIO_Port, &GPIO_InitStruct);

  /*Configure GPIO pin : DIR_Pin */
  GPIO_InitStruct.Pin = DIR_Pin;
  GPIO_InitStruct.Mode = GPIO_MODE_OUTPUT_PP;
  GPIO_InitStruct.Pull = GPIO_NOPULL;
  GPIO_InitStruct.Speed = GPIO_SPEED_FREQ_LOW;
  HAL_GPIO_Init(DIR_GPIO_Port, &GPIO_InitStruct);

  /*Configure GPIO pin : SW1_Pin */
  GPIO_InitStruct.Pin = SW1_Pin;
  GPIO_InitStruct.Mode = GPIO_MODE_INPUT;
  GPIO_InitStruct.Pull = GPIO_PULLUP;
  HAL_GPIO_Init(SW1_GPIO_Port, &GPIO_InitStruct);

  /*Configure GPIO pins : INTOF2_Pin INTOF1_Pin */
  GPIO_InitStruct.Pin = INTOF2_Pin|INTOF1_Pin;
  GPIO_InitStruct.Mode = GPIO_MODE_IT_FALLING;
  GPIO_InitStruct.Pull = GPIO_PULLUP;
  HAL_GPIO_Init(GPIOC, &GPIO_InitStruct);

  /*Configure GPIO pins : DIS_Pin TC72_CE_Pin MTR_CSN_Pin */
  GPIO_InitStruct.Pin = DIS_Pin|TC72_CE_Pin|MTR_CSN_Pin;
  GPIO_InitStruct.Mode = GPIO_MODE_OUTPUT_PP;
  GPIO_InitStruct.Pull = GPIO_NOPULL;
  GPIO_InitStruct.Speed = GPIO_SPEED_FREQ_LOW;
  HAL_GPIO_Init(GPIOB, &GPIO_InitStruct);

  /* EXTI interrupt init*/
  HAL_NVIC_SetPriority(EXTI15_10_IRQn, 5, 0);
  HAL_NVIC_EnableIRQ(EXTI15_10_IRQn);

}

void StartDefaultTask(void *argument)
{
  /* USER CODE BEGIN 5 */

    AppClock_Time_t currentTime;
    AppAlarm_t alarm;

    uint8_t lastSecond = 255;
    uint8_t lastEnabled = 255;
    uint8_t lastAlarmHour = 255;
    uint8_t lastAlarmMinute = 255;

    AppAlarm_State_t lastState =
        (AppAlarm_State_t)255;
    /* Y1.3 : suivi du son */
    AppAlarm_State_t dernierEtatSon = APP_ALARM_SILENCIEUSE;
    uint8_t bipStopEnAttente = 0;

    /* Initialisation RTC */
    if (AppClock_Init(&hrtc) != HAL_OK)
    {
        Error_Handler();
    }

    if (AppClock_Read(&hrtc, &currentTime) != HAL_OK)
    {
        Error_Handler();
    }

    /* Charger la configuration sauvegardee */
    if (!AppAlarmStorage_Load(
            &hrtc,
            &alarm,
            10))
    {
        /*
         * Premier demarrage :
         * alarme a 07:00, desactivee.
         */
        AppAlarm_Init(
            &alarm,
            7,
            0,
            10
        );

        AppAlarm_Stop(&alarm);

        /* Sauvegarder les valeurs initiales */
        if (AppAlarmStorage_Save(
                &hrtc, &alarm) != HAL_OK)
        {
            Error_Handler();
        }
    }

    /* Variables conservees pour la commande REARM */
    uint8_t alarmHour = alarm.hours;
    uint8_t alarmMinute = alarm.minutes;

    /*
     * Eviter une sonnerie immediate apres RESET
     * si on se trouve deja dans la minute
     * programmee.
     */
    if (currentTime.hours == alarm.hours &&
        currentTime.minutes == alarm.minutes)
    {
        alarm.minuteArmed = 0;
    }

    for (;;)
    {
        if (AppClock_Read(
                &hrtc,
                &currentTime) == HAL_OK)
        {
            /* Actualiser la machine a etats */
            AppAlarm_Update(
                &alarm,
                currentTime.hours,
                currentTime.minutes,
                currentTime.seconds
            );

            /* Lire toutes les commandes en attente */
            AppCommand_t cmd;

            while (osMessageQueueGet(
                       commandQueueHandle,
                       &cmd,
                       NULL,
                       0) == osOK)
            {
                switch (cmd.type)
                {
                    case APP_CMD_SNOOZE:

                        AppAlarm_Snooze(
                            &alarm,
                            currentTime.hours,
                            currentTime.minutes,
                            currentTime.seconds
                        );

                        break;

                    case APP_CMD_STOP:

                        /* Bip uniquement si on arrete une alarme en cours */
                        if (alarm.state == APP_ALARM_SONNERIE ||
                            alarm.state == APP_ALARM_SNOOZE)
                        {
                            bipStopEnAttente = 1;
                        }

                        AppAlarm_Stop(&alarm);

                        if (AppAlarmStorage_Save(
                                &hrtc, &alarm) != HAL_OK)
                        {
                            Error_Handler();
                        }

                        break;

                    case APP_CMD_REARM:

                        /* Programmer la minute suivante */
                        alarmHour = currentTime.hours;
                        alarmMinute =
                            currentTime.minutes + 1;

                        if (alarmMinute >= 60)
                        {
                            alarmMinute = 0;
                            alarmHour =
                                (alarmHour + 1) % 24;
                        }

                        AppAlarm_Init(
                            &alarm,
                            alarmHour,
                            alarmMinute,
                            10
                        );
                        if (AppAlarmStorage_Save(
                                    &hrtc, &alarm) != HAL_OK)
                            {
                                Error_Handler();
                            }

                        break;

                    case APP_CMD_SET_TIME:

                        if (AppClock_SetTime(
                                &hrtc,
                                cmd.hours,
                                cmd.minutes,
                                cmd.seconds) == HAL_OK)
                        {
                            /* Relire immediatement la nouvelle heure */
                            if (AppClock_Read(
                                    &hrtc, &currentTime) == HAL_OK)
                            {
                                /* Forcer le prochain affichage */
                                lastSecond = 255;
                            }
                        }

                        break;

                    case APP_CMD_SET_ALARM:
                    {
                        /* Conserver l'etat d'activation */
                        uint8_t wasEnabled = alarm.enabled;

                        /* Configurer la nouvelle heure */
                        AppAlarm_Init(
                            &alarm,
                            cmd.hours,
                            cmd.minutes,
                            10
                        );

                        /* Eviter un declenchement immediat
                           si on programme la minute actuelle */
                        if (currentTime.hours == alarm.hours &&
                            currentTime.minutes == alarm.minutes)
                        {
                            alarm.minuteArmed = 0;
                        }

                        /* Respecter une alarme deja desactivee */
                        if (!wasEnabled)
                        {
                            AppAlarm_Stop(&alarm);
                        }
                        if (AppAlarmStorage_Save(
                                    &hrtc, &alarm) != HAL_OK)
                            {
                                Error_Handler();
                            }

                        break;
                    }

                    case APP_CMD_SET_ENABLED:
                    {
                        if (cmd.enabled == 0)
                        {
                            /* Desactiver et arreter l'alarme */
                            AppAlarm_Stop(&alarm);
                        }
                        else
                        {
                            /* Reactiver avec l'heure programmee */
                            AppAlarm_Init(
                                &alarm,
                                alarm.hours,
                                alarm.minutes,
                                10
                            );

                            /* Ne pas declencher immediatement
                               pendant la minute en cours */
                            if (currentTime.hours == alarm.hours &&
                                currentTime.minutes == alarm.minutes)
                            {
                                alarm.minuteArmed = 0;
                            }
                        }
                        if (AppAlarmStorage_Save(
                                    &hrtc, &alarm) != HAL_OK)
                            {
                                Error_Handler();
                            }

                        break;
                    }

                    default:
                        break;
                }
            }

            /* ===== Y1.2 : Reception des gestes ===== */
            Geste_t geste;

            while (osMessageQueueGet(
                       Evt_GestesHandle,
                       &geste,
                       NULL,
                       0) == osOK)
            {
                switch (geste)
                {
                    case GESTE_SNOOZE:
                        /* Snooze seulement pendant SONNERIE */
                        AppAlarm_Snooze(
                            &alarm,
                            currentTime.hours,
                            currentTime.minutes,
                            currentTime.seconds
                        );
                        break;

                    case GESTE_STOP:
                        /* STOP autorise en SONNERIE et SNOOZE */
                        if (alarm.state == APP_ALARM_SONNERIE ||
                            alarm.state == APP_ALARM_SNOOZE)
                        {
                        	bipStopEnAttente = 1;
                            AppAlarm_Stop(&alarm);

                            /* Sauvegarder l'alarme desactivee */
                            if (AppAlarmStorage_Save(
                                    &hrtc,
                                    &alarm) != HAL_OK)
                            {
                                Error_Handler();
                            }
                        }
                        break;

                    default:
                        break;
                }
            }

            /* ===== Y1.3 : commande de la tache Son ===== */

            /* Detecter les changements d'etat de l'alarme */
            if (alarm.state != dernierEtatSon)
            {
                OrdreSon_t ordreSon;

                if (alarm.state == APP_ALARM_SONNERIE)
                {
                    /* L'alarme commence ou reprend */
                    ordreSon = MELODIE_ON;
                }
                else
                {
                    /* SNOOZE, STOP ou desactivation */
                    ordreSon = MELODIE_OFF;
                }

                /* Envoyer l'ordre a la tache Son */
                if (osMessageQueuePut(
                        Ordres_SonHandle,
                        &ordreSon,
                        0,
                        0) == osOK)
                {
                    dernierEtatSon = alarm.state;
                }
            }

            /* Bip de confirmation apres un STOP */
            if (bipStopEnAttente &&
                alarm.state == APP_ALARM_SILENCIEUSE &&
                dernierEtatSon == APP_ALARM_SILENCIEUSE)
            {
                OrdreSon_t ordreSon = BIP;

                if (osMessageQueuePut(
                        Ordres_SonHandle,
                        &ordreSon,
                        0,
                        0) == osOK)
                {
                    bipStopEnAttente = 0;
                }
            }

            /* Partager l'etat du reveil avec les autres taches */
            EtatReveil_t etatPartage = {
                .h = currentTime.hours,
                .m = currentTime.minutes,
                .s = currentTime.seconds,
                .alarme_h = alarm.hours,
                .alarme_m = alarm.minutes,
                .alarme_active = alarm.enabled,
                .etat = alarm.state
            };

            EtatReveil_Ecrire(&etatPartage);

            /* Envoyer l'etat a la tache OLED */

            if (currentTime.seconds != lastSecond ||
                alarm.state != lastState ||
                alarm.enabled != lastEnabled ||
                alarm.hours != lastAlarmHour ||
                alarm.minutes != lastAlarmMinute)

            {
                DisplayMessage_t msg;

                msg.hours = currentTime.hours;
                msg.minutes = currentTime.minutes;
                msg.seconds = currentTime.seconds;
                msg.state = alarm.state;
                msg.enabled = alarm.enabled;
                msg.alarmHours = alarm.hours;
                msg.alarmMinutes = alarm.minutes;

                /* Communication sans attente */
                if (osMessageQueuePut(
                        displayQueueHandle,
                        &msg,
                        0,
                        0) != osOK)
                {
                    DisplayMessage_t discarded;

                    (void)osMessageQueueGet(
                        displayQueueHandle,
                        &discarded,
                        NULL,
                        0
                    );

                    (void)osMessageQueuePut(
                        displayQueueHandle,
                        &msg,
                        0,
                        0
                    );
                }

                lastSecond = currentTime.seconds;
                lastState = alarm.state;
                lastEnabled = alarm.enabled;
                lastAlarmHour = alarm.hours;
                lastAlarmMinute = alarm.minutes;
            }
        }

        osDelay(100);
    }

  /* USER CODE END 5 */
}

void StartDisplayTask(void *argument)
{
  /* USER CODE BEGIN StartDisplayTask */

    (void)argument;

    OLED_Page_t page = OLED_PAGE_HEURE;
    Mode_t dernierMode = MODE_JOUR;

    uint32_t dernierAffichage = 0;
    uint32_t debutMessageSieste = 0;

    uint8_t messageSieste = 0;
    uint8_t forcerAffichage = 1;
    uint8_t premierAffichage = 1;

    /* L'interface est seule proprietaire de l'OLED */
    osMutexAcquire(I2C1_MutexHandle, osWaitForever);
    OLED_Init();
    osMutexRelease(I2C1_MutexHandle);

    for (;;)
    {
        Cmde_t cmd;

        /* Attendre une touche, maximum 100 ms */
        if (osMessageQueueGet(
                CmdesHandle, &cmd, NULL, 100) == osOK)
        {
            /* Traiter toutes les commandes en attente */
            do
            {
                switch (cmd.type)
                {
                    case NAV_PREC:
                        page = (page == OLED_PAGE_HEURE)
                            ? OLED_PAGE_NOMBRE - 1
                            : page - 1;
                        forcerAffichage = 1;
                        break;

                    case NAV_SUIV:
                        page = (page + 1) % OLED_PAGE_NOMBRE;
                        forcerAffichage = 1;
                        break;

                    case NAV_VALID:
                        if (page == OLED_PAGE_VENTILATION)
                        {
                            Vent_Manuel = !Vent_Manuel;
                            forcerAffichage = 1;
                        }
                        break;

                    case SIESTE:
                        if (osSemaphoreRelease(
                                Evt_SiesteHandle) == osOK)
                        {
                            messageSieste = 1;
                        }
                        else
                        {
                            messageSieste = 2;
                        }

                        debutMessageSieste =
                            osKernelGetTickCount();

                        page = OLED_PAGE_SIESTE;
                        forcerAffichage = 1;
                        break;

                    default:
                        break;
                }
            }
            while (osMessageQueueGet(
                       CmdesHandle, &cmd, NULL, 0) == osOK);
        }

        uint32_t maintenant = osKernelGetTickCount();
        Mode_t modeActuel = Mode_Lire();

        /* Affichage immediat sur touche ou changement de mode.
         * Sinon actualisation chaque seconde. */
        if (forcerAffichage ||
            premierAffichage ||
            modeActuel != dernierMode ||
            maintenant - dernierAffichage >= 1000)
        {
            OLED_Donnees_t d;

            /* Copies protegees par leurs mutex internes */
            EtatReveil_Lire(&d.reveil);
            EtatSommeil_Lire(&d.sommeil);
            Infos_Lire(&d.infos);
            Config_Lire(&d.config);

            d.mode = modeActuel;
            d.vent_manuel = Vent_Manuel;

            if (messageSieste != 0 &&
                maintenant - debutMessageSieste < 3000)
            {
                d.message_sieste = messageSieste;
            }
            else
            {
                d.message_sieste = 0;
                messageSieste = 0;
            }

            /* Le mutex couvre TOUT l'acces a l'OLED */
            osMutexAcquire(I2C1_MutexHandle, osWaitForever);

            /* Contraste attenue la nuit */
            if (premierAffichage ||
                modeActuel != dernierMode)
            {
                OLED_SetContrast(
                    modeActuel == MODE_NUIT ? 0x10 : 0xFF);
            }

            OLED_ShowPage(page, &d);

            osMutexRelease(I2C1_MutexHandle);

            dernierMode = modeActuel;
            dernierAffichage = maintenant;
            forcerAffichage = 0;
            premierAffichage = 0;
        }
    }

  /* USER CODE END StartDisplayTask */
}

void StartCommandTask(void *argument)
{
  /* USER CODE BEGIN StartCommandTask */
	  (void)argument;
	  App_RunTerminal(&huart2, 0);
  /* USER CODE END StartCommandTask */
}

void StartBluetoothTask(void *argument)
{
  /* USER CODE BEGIN StartBluetoothTask */
	  (void)argument;
	  App_RunTerminal(&hlpuart1, 1);
  /* USER CODE END StartBluetoothTask */
}

void HAL_TIM_PeriodElapsedCallback(TIM_HandleTypeDef *htim)
{
  if (htim->Instance == TIM6)
  {
    HAL_IncTick();
  }
}

void Error_Handler(void)
{
  __disable_irq();
  while (1)
  {
  }
}
